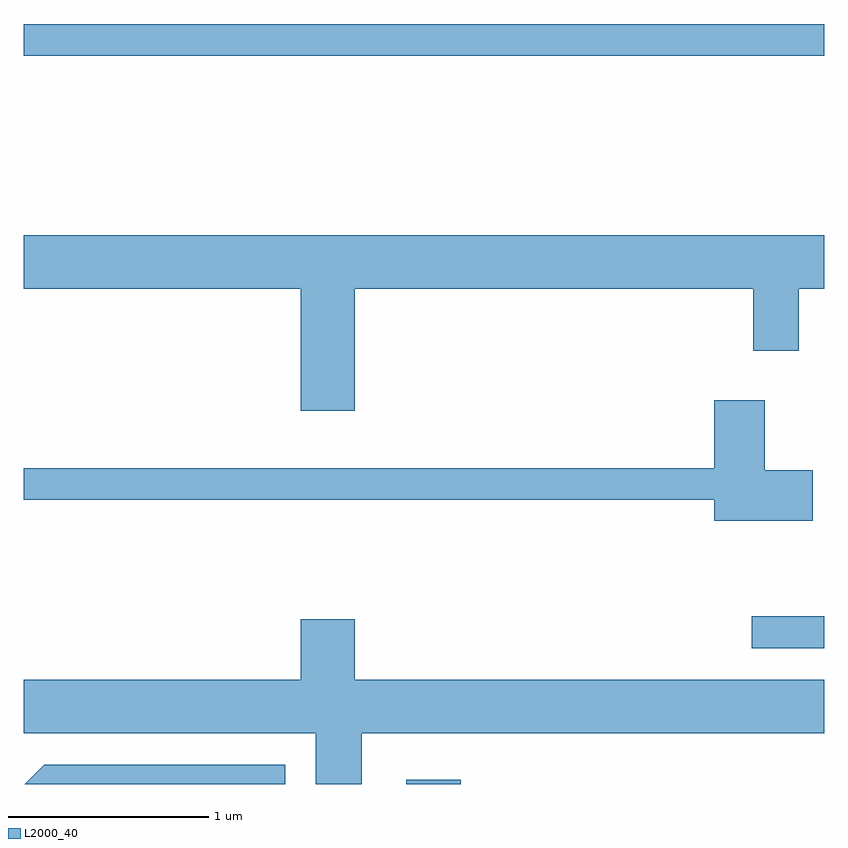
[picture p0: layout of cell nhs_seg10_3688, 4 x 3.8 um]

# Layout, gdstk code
import gdstk
lib = gdstk.Library(unit=1e-6, precision=1e-09)
def R(c, l, rs):  # rectangles x0, y0, x1, y1
    for r in rs: c.add(gdstk.rectangle(r[:2], r[2:], *l))
def P(c, l, *ps):  # polygons
    for p in ps: c.add(gdstk.Polygon(p, *l))
L2000_40 = (2000, 40)

nhs_seg10_3688 = lib.new_cell('nhs_seg10_3688')
R(nhs_seg10_3688, L2000_40, [(295.523,2142.522,295.794,2142.544), (297.248,2143.201,297.611,2143.359), (293.611,2146.161,297.611,2146.319)])
P(nhs_seg10_3688, L2000_40, [(295.264,2144.996),(297.256,2144.996),(297.256,2144.686),(297.484,2144.686),(297.484,2144.996),(297.611,2144.996),(297.611,2145.264),(293.611,2145.264),(293.611,2144.996),(294.996,2144.996),(294.996,2144.386),(295.264,2144.386)],
  [(297.554,2144.089),(297.314,2144.089),(297.314,2144.439),(297.061,2144.439),(297.061,2144.099),(293.611,2144.099),(293.611,2143.941),(297.061,2143.941),(297.061,2143.836),(297.554,2143.836)],
  [(295.299,2142.776),(297.611,2142.776),(297.611,2143.044),(295.264,2143.044),(295.264,2143.344),(294.996,2143.344),(294.996,2143.044),(293.611,2143.044),(293.611,2142.776),(295.071,2142.776),(295.071,2142.522),(295.299,2142.522)],
  [(294.919,2142.619),(293.714,2142.619),(293.617,2142.522),(294.919,2142.522)])

lib.write_gds('nhs_seg10_3688.gds')
